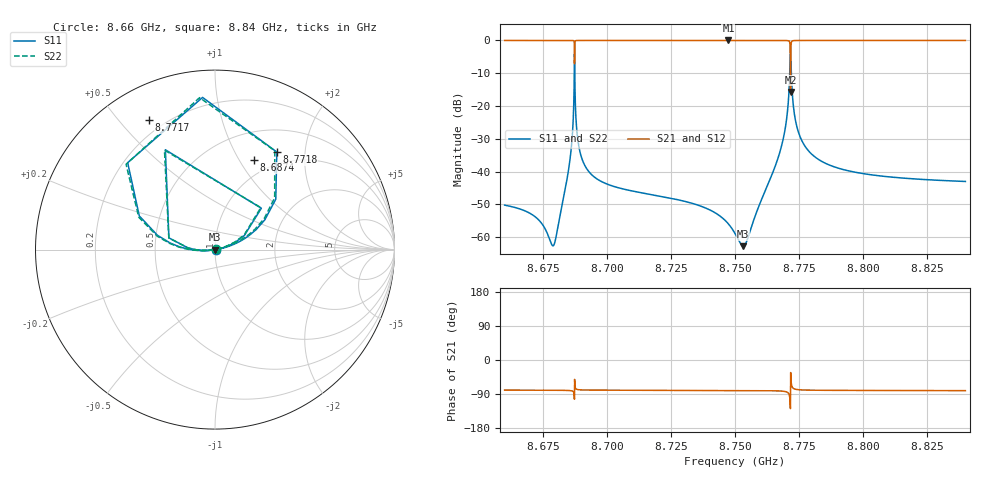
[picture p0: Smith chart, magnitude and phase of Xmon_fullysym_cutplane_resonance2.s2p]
! Sonnet Data File
! From: emgraph Version : 16.52
! From Emgraph Data: 171117_Xmon_fullysym_trail
! Data File Written: 11/21/2017 19:30:38
!< HDATE 11/21/2017 17:20:33
!< MDATE 11/21/2017 17:20:33
!< PARAMS
!< Lj = 11.0
!< Gap = 6.0
!< Pwid = 2000.0
!< Width = 10.0
!< END PARAMS
# GHZ S MA R 50.90000
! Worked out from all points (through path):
!   3601 points, 8.66 GHz to 8.84 GHz, reference 50.9 ohm
!   highest |S21| = 0.00 dB at 8.7475 GHz (marker M1); lowest = -15.7 dB at 8.7717 GHz (marker M2)
!   lowest |S11| = -62.8 dB at 8.7532 GHz (marker M3), VSWR 1.00, Z = 50.9 - j0.0732 ohm
!   |S11| at or under -10 dB: start of sweep to 8.687221 GHz; 8.6874 GHz to 8.7714 GHz (83.97 MHz wide, 0.962 % of centre); 8.772 GHz to end of sweep
!   |S22| runs from -62.6 to -1.4 dB; largest |S21 - S12| = 3.1e-10
!   S11 on the Smith chart (normalised r, x): 8.66 GHz: 1.01, -0.00; 8.6874 GHz: 0.81, +1.16; 8.7717 GHz: 0.14, +0.60; 8.7718 GHz: 0.81, +1.50; 8.84 GHz: 1.01, +0.00
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8.66  0.003076 -3.7  1 -79.4  1 -79.4  0.003078 24.9
!< P1 F=8.66 Eeff=(6.44844023 -2.9799e-5) Z0=(50.9085963 1.17006e-4) R=0.0 C=0.0
!< P2 F=8.66 Eeff=(6.44844012 -2.9799e-5) Z0=(50.9086403 1.17006e-4) R=0.0 C=0.0
8.6719  0.002051 -11.1  1 -79.6  1 -79.6  0.002055 32.1
8.67915  0.000748 -90.3  1 -79.8  1 -79.8  0.0007714 110.4
8.68475  0.009344 -166.6  0.9999 -80.4  0.9999 -80.4  0.00936 -175.3
8.68735  0.5445 66.7  0.6203 -51.1  0.6203 -51.1  0.545 67.3
8.69  0.01661 8.5  0.9998 -78.9  0.9998 -78.9  0.01662 14.2
8.6979  0.007021 4.1  1 -79.6  1 -79.6  0.007023 16.9
8.72  0.004262 -0.3  1 -79.9  1 -79.9  0.004263 20.5
8.74745  0.001586 -18.2  1 -80.3  1 -80.3  0.001592 38.0
8.75  0.001137 -30.8  1 -80.4  1 -80.4  0.001145 50.5
8.7532  0.0007278 -81.0  1 -80.5  1 -80.5  0.0007441 100.0
8.76755  0.01997 -170.5  0.9997 -81.7  0.9997 -81.7  0.01998 -173.6
8.76975  0.04892 -173.7  0.9983 -83.4  0.9983 -83.4  0.04893 -174.3
8.7708  0.1124 -178.5  0.9912 -87.1  0.9912 -87.1  0.1124 -178.1
8.77165  0.8093 117.1  0.3435 -128.3  0.3435 -128.3  0.8095 118.2
8.7717  0.8508 94.7  0.1633 -58.6  0.1633 -58.6  0.851 95.8
8.7718  0.6436 57.6  0.6667 -41.2  0.6667 -41.2  0.6437 58.8
8.77265  0.1152 16.1  0.9913 -74.0  0.9913 -74.0  0.1152 17.9
8.7745  0.04333 10.6  0.9988 -78.2  0.9988 -78.2  0.04334 13.7
8.78  0.01837 7.6  0.9998 -79.7  0.9998 -79.7  0.01837 13.3
8.81  0.008318 3.8  1 -80.5  1 -80.5  0.008319 15.2
8.84  0.007064 2.5  1 -80.9  1 -80.9  0.007064 15.8
